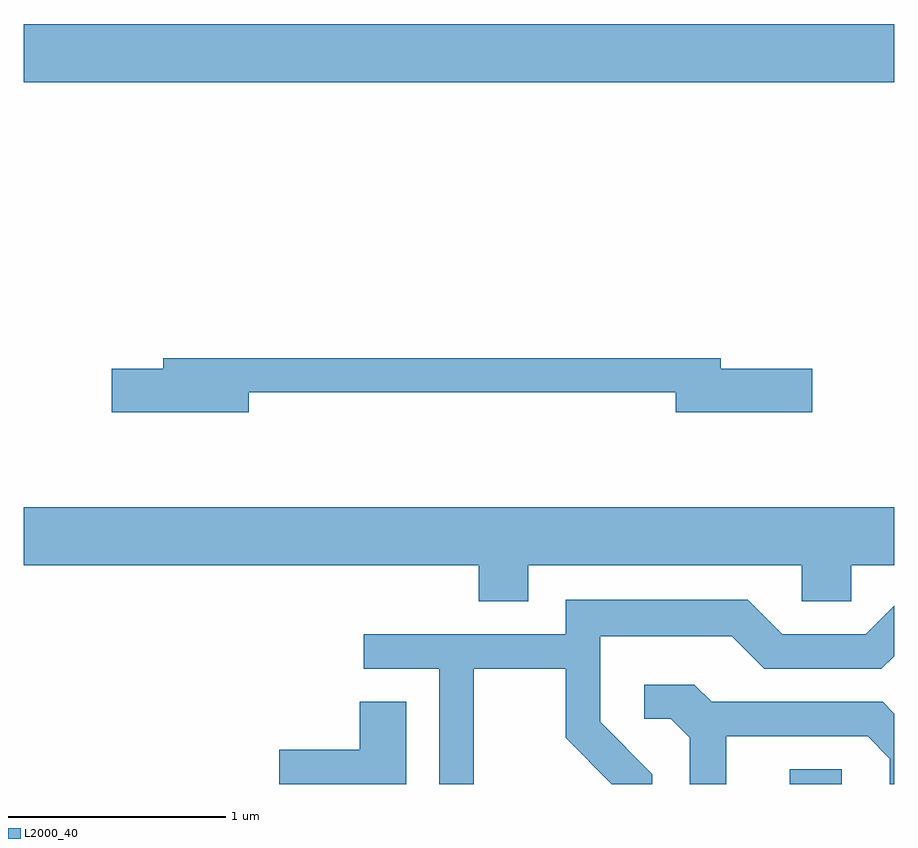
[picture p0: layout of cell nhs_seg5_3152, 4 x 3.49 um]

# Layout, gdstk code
import gdstk
lib = gdstk.Library(unit=1e-6, precision=1e-09)
def R(c, l, rs):  # rectangles x0, y0, x1, y1
    for r in rs: c.add(gdstk.rectangle(r[:2], r[2:], *l))
def P(c, l, *ps):  # polygons
    for p in ps: c.add(gdstk.Polygon(p, *l))
L2000_40 = (2000, 40)

nhs_seg5_3152 = lib.new_cell('nhs_seg5_3152')
R(nhs_seg5_3152, L2000_40, [(283.131,1398.072,283.369,1398.139), (279.611,1401.296,283.611,1401.564)])
P(nhs_seg5_3152, L2000_40, [(280.644,1399.871),(282.606,1399.871),(282.606,1399.781),(283.234,1399.781),(283.234,1399.979),(282.814,1399.979),(282.814,1400.029),(280.251,1400.029),(280.251,1399.979),(280.016,1399.979),(280.016,1399.781),(280.644,1399.781)],
  [(281.929,1399.076),(283.186,1399.076),(283.186,1398.911),(283.414,1398.911),(283.414,1399.076),(283.611,1399.076),(283.611,1399.344),(279.611,1399.344),(279.611,1399.076),(281.701,1399.076),(281.701,1398.911),(281.929,1398.911)],
  [(281.679,1398.601),(282.101,1398.601),(282.101,1398.284),(282.313,1398.072),(282.499,1398.072),(282.499,1398.117),(282.259,1398.357),(282.259,1398.751),(282.864,1398.751),(283.014,1398.601),(283.552,1398.601),(283.611,1398.66),(283.611,1398.891),(283.479,1398.759),(283.097,1398.759),(282.937,1398.919),(282.101,1398.919),(282.101,1398.759),(281.173,1398.759),(281.173,1398.601),(281.521,1398.601),(281.521,1398.072),(281.679,1398.072)],
  [(282.839,1398.291),(283.489,1398.291),(283.591,1398.189),(283.591,1398.072),(283.611,1398.072),(283.611,1398.395),(283.557,1398.449),(282.772,1398.449),(282.692,1398.529),(282.463,1398.529),(282.463,1398.371),(282.584,1398.371),(282.671,1398.284),(282.671,1398.072),(282.839,1398.072)],
  [(281.369,1398.449),(281.156,1398.449),(281.156,1398.229),(280.786,1398.229),(280.786,1398.072),(281.369,1398.072)])

lib.write_gds('nhs_seg5_3152.gds')
